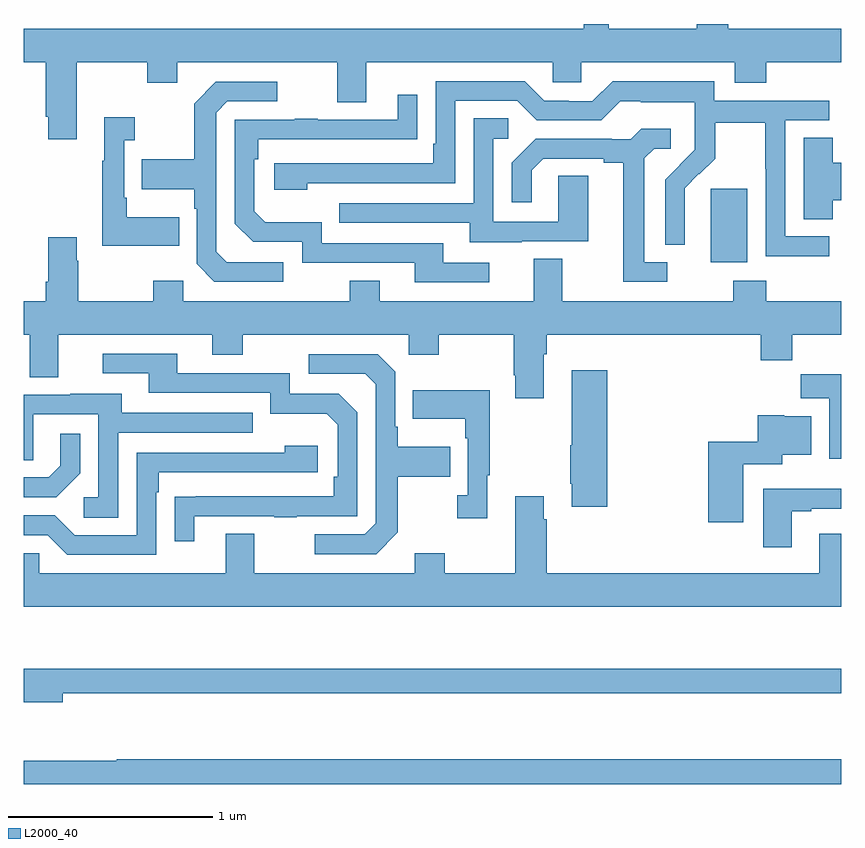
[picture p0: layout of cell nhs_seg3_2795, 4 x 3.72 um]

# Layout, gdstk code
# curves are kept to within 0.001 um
import gdstk
lib = gdstk.Library(unit=1e-6, precision=1e-09)
def R(c, l, rs):  # rectangles x0, y0, x1, y1
    for r in rs: c.add(gdstk.rectangle(r[:2], r[2:], *l))
def P(c, l, *ps):  # polygons
    for p in ps: c.add(gdstk.Polygon(p, *l))
L2000_40 = (2000, 40)

nhs_seg3_2795 = lib.new_cell('nhs_seg3_2795')
R(nhs_seg3_2795, L2000_40, [(258.362,737.234,258.541,737.595)])
P(nhs_seg3_2795, L2000_40, [(255.259,738.212),(255.604,738.212),(255.604,738.113),(255.751,738.113),(255.751,738.212),(256.535,738.212),(256.535,738.018),(256.675,738.018),(256.675,738.212),(257.589,738.212),(257.589,738.114),(257.727,738.114),(257.727,738.212),(258.479,738.212),(258.479,738.113),(258.632,738.113),(258.632,738.212),(259,738.212),(259,738.376),(258.446,738.376),(258.446,738.4),(258.293,738.4),(258.293,738.376),(257.863,738.376),(257.863,738.4),(257.741,738.4),(257.741,738.376),(255,738.376),(255,738.212),(255.107,738.212),(255.107,737.947),(255.119,737.947),(255.119,737.835),(255.259,737.835)],
  [(258.94,737.361),(258.726,737.361),(258.726,737.928),(258.94,737.928),(258.94,738.024),(258.378,738.024),(258.378,738.121),(257.881,738.121),(257.781,738.021),(257.666,738.021),(257.666,738.024),(257.547,738.024),(257.451,738.12),(257.016,738.12),(257.016,737.815),(257.003,737.815),(257.003,737.718),(256.227,737.718),(256.227,737.588),(256.388,737.588),(256.388,737.622),(257.112,737.622),(257.112,738.024),(257.415,738.024),(257.511,737.928),(257.826,737.928),(257.919,738.021),(258.019,738.021),(258.019,738.017),(258.282,738.017),(258.282,737.883),(258.284,737.883),(258.284,737.786),(258.138,737.638),(258.138,737.32),(258.234,737.32),(258.233,737.597),(258.303,737.667),(258.306,737.664),(258.383,737.741),(258.383,737.916),(258.628,737.916),(258.628,737.692),(258.63,737.692),(258.63,737.263),(258.94,737.263)],
  [(256.27,737.235),(255.993,737.235),(255.942,737.286),(255.942,737.967),(255.996,738.021),(256.24,738.021),(256.24,738.117),(255.939,738.117),(255.834,738.011),(255.834,737.739),(255.577,737.739),(255.577,737.591),(255.834,737.591),(255.834,737.495),(255.846,737.495),(255.846,737.226),(255.933,737.139),(256.27,737.139)],
  [(257.278,737.232),(257.053,737.232),(257.053,737.328),(256.458,737.328),(256.458,737.431),(256.181,737.431),(256.128,737.484),(256.128,737.738),(256.148,737.738),(256.148,737.835),(256.925,737.836),(256.925,738.055),(256.829,738.055),(256.829,737.931),(256.439,737.931),(256.439,737.936),(256.327,737.936),(256.327,737.931),(256.032,737.931),(256.032,737.424),(256.122,737.334),(256.362,737.334),(256.362,737.232),(256.913,737.232),(256.913,737.136),(257.278,737.136)],
  [(255.761,737.455),(255.505,737.455),(255.505,737.551),(255.492,737.551),(255.492,737.831),(255.544,737.831),(255.544,737.944),(255.395,737.944),(255.395,737.731),(255.384,737.731),(255.384,737.315),(255.761,737.315)],
  [(257.437,737.337),(257.761,737.337),(257.761,737.657),(257.616,737.657),(257.616,737.433),(257.298,737.433),(257.298,737.838),(257.371,737.838),(257.371,737.939),(257.202,737.939),(257.202,737.523),(256.543,737.523),(256.543,737.427),(257.183,737.427),(257.183,737.333),(257.437,737.333)],
  [(258.148,737.235),(258.037,737.235),(258.037,737.743),(258.084,737.79),(258.166,737.79),(258.166,737.887),(258.022,737.887),(257.97,737.835),(257.876,737.835),(257.876,737.838),(257.504,737.838),(257.388,737.722),(257.388,737.529),(257.485,737.529),(257.485,737.685),(257.542,737.742),(257.837,737.742),(257.837,737.72),(257.933,737.72),(257.933,737.139),(258.148,737.139)],
  [(258.959,737.537),(259,737.537),(259,737.72),(258.959,737.72),(258.959,737.843),(258.815,737.843),(258.815,737.446),(258.959,737.446)],
  [(257.545,736.784),(257.558,736.784),(257.558,736.88),(258.605,736.88),(258.605,736.756),(258.761,736.756),(258.761,736.88),(259,736.88),(259,737.044),(258.632,737.044),(258.632,737.143),(258.472,737.143),(258.472,737.044),(257.635,737.044),(257.635,737.252),(257.495,737.252),(257.495,737.044),(256.741,737.044),(256.741,737.143),(256.594,737.143),(256.594,737.044),(255.78,737.044),(255.78,737.143),(255.634,737.143),(255.634,737.044),(255.267,737.044),(255.267,737.243),(255.259,737.243),(255.259,737.356),(255.119,737.356),(255.119,737.14),(255.107,737.14),(255.107,737.044),(255,737.044),(255,736.88),(255.029,736.88),(255.029,736.672),(255.169,736.672),(255.169,736.88),(255.923,736.88),(255.923,736.781),(256.071,736.781),(256.071,736.88),(256.884,736.88),(256.884,736.781),(257.031,736.781),(257.031,736.88),(257.398,736.88),(257.398,736.681),(257.405,736.681),(257.405,736.569),(257.545,736.569)],
  [(255.835,735.993),(256.225,735.993),(256.225,735.988),(256.337,735.988),(256.337,735.993),(256.632,735.993),(256.632,736.5),(256.542,736.59),(256.302,736.59),(256.302,736.692),(255.751,736.692),(255.751,736.788),(255.387,736.788),(255.387,736.692),(255.611,736.692),(255.611,736.596),(256.206,736.596),(256.206,736.493),(256.483,736.493),(256.536,736.44),(256.536,736.186),(256.516,736.186),(256.516,736.089),(255.739,736.088),(255.739,735.87),(255.835,735.87)],
  [(256.831,735.913),(256.831,736.186),(257.087,736.186),(257.087,736.333),(256.831,736.333),(256.831,736.429),(256.818,736.429),(256.818,736.698),(256.731,736.785),(256.395,736.785),(256.395,736.689),(256.671,736.689),(256.722,736.638),(256.722,735.957),(256.668,735.903),(256.425,735.903),(256.425,735.807),(256.725,735.807)],
  [(257.854,736.705),(257.681,736.705),(257.681,736.339),(257.674,736.339),(257.674,736.15),(257.681,736.15),(257.681,736.038),(257.854,736.038)],
  [(259,736.687),(258.802,736.687),(258.802,736.568),(258.941,736.568),(258.941,736.272),(259,736.272)],
  [(257.269,736.193),(257.281,736.193),(257.281,736.609),(256.903,736.609),(256.903,736.469),(257.16,736.469),(257.16,736.373),(257.172,736.373),(257.172,736.094),(257.121,736.094),(257.121,735.981),(257.269,735.981)],
  [(255.462,736.401),(256.121,736.401),(256.121,736.497),(255.481,736.497),(255.481,736.591),(255.227,736.591),(255.227,736.587),(255,736.587),(255,736.267),(255.048,736.267),(255.048,736.491),(255.366,736.491),(255.366,736.086),(255.294,736.086),(255.294,735.985),(255.462,735.985)],
  [(258.52,736.247),(258.712,736.247),(258.712,736.292),(258.853,736.292),(258.853,736.48),(258.72,736.48),(258.72,736.486),(258.59,736.486),(258.59,736.357),(258.35,736.357),(258.35,735.963),(258.52,735.963)],
  [(255.276,736.202),(255.276,736.396),(255.179,736.396),(255.179,736.239),(255.122,736.182),(255,736.182),(255,736.086),(255.16,736.086)],
  [(255.648,736.109),(255.661,736.109),(255.661,736.206),(256.438,736.206),(256.438,736.336),(256.277,736.336),(256.277,736.302),(255.552,736.302),(255.552,735.9),(255.249,735.9),(255.153,735.996),(255,735.996),(255,735.9),(255.117,735.9),(255.213,735.804),(255.648,735.804)],
  [(258.757,736.017),(258.853,736.017),(258.853,736.029),(259,736.029),(259,736.126),(258.617,736.126),(258.617,735.84),(258.757,735.84)],
  [(259,735.907),(258.893,735.907),(258.893,735.712),(257.558,735.712),(257.558,735.977),(257.545,735.977),(257.545,736.09),(257.405,736.09),(257.405,735.712),(257.061,735.712),(257.061,735.811),(256.913,735.811),(256.913,735.712),(256.129,735.712),(256.129,735.907),(255.989,735.907),(255.989,735.712),(255.075,735.712),(255.075,735.81),(255,735.81),(255,735.548),(259,735.548)],
  [(255.19,735.126),(259,735.126),(259,735.247),(255,735.247),(255,735.083),(255.19,735.083)],
  [(259,734.803),(255.455,734.803),(255.455,734.795),(255,734.795),(255,734.682),(259,734.682)])

lib.write_gds('nhs_seg3_2795.gds')
